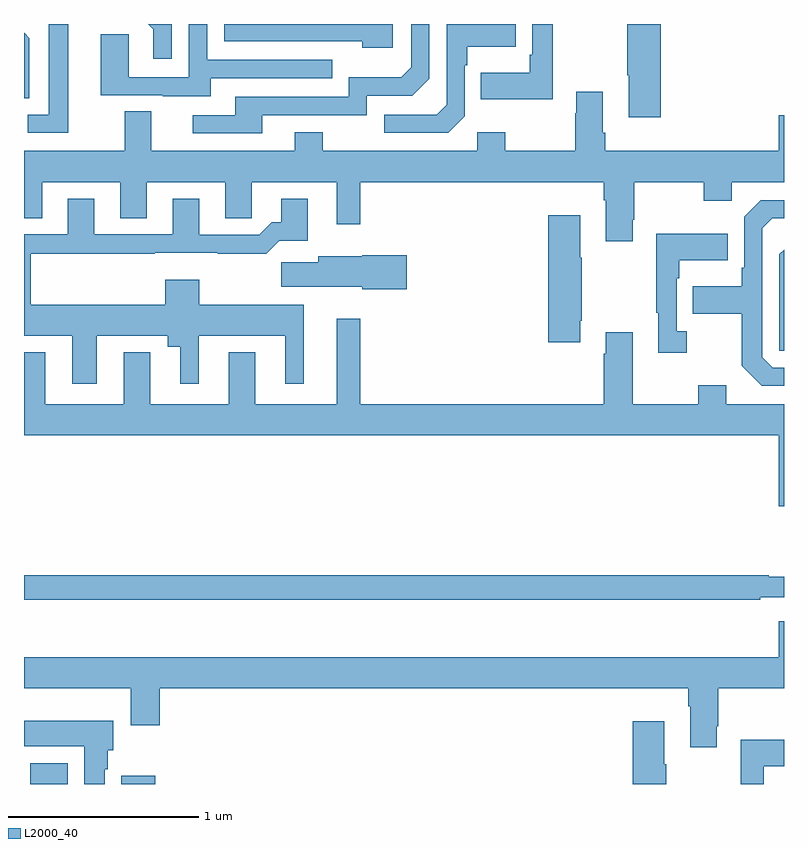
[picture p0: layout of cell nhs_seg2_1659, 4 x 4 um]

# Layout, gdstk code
import gdstk
lib = gdstk.Library(unit=1e-6, precision=1e-09)
def R(c, l, rs):  # rectangles x0, y0, x1, y1
    for r in rs: c.add(gdstk.rectangle(r[:2], r[2:], *l))
def P(c, l, *ps):  # polygons
    for p in ps: c.add(gdstk.Polygon(p, *l))
L2000_40 = (2000, 40)

nhs_seg2_1659 = lib.new_cell('nhs_seg2_1659')
R(nhs_seg2_1659, L2000_40, [(197.033,645.8,197.23,645.91), (197.513,645.8,197.692,645.844)])
P(nhs_seg2_1659, L2000_40, [(200.351,649.8),(200.176,649.8),(200.176,649.531),(200.183,649.531),(200.183,649.308),(200.351,649.308)],
  [(198.94,649.8),(198.054,649.8),(198.054,649.71),(198.779,649.71),(198.779,649.676),(198.94,649.676)],
  [(197.778,649.8),(197.654,649.8),(197.681,649.773),(197.681,649.617),(197.778,649.617)],
  [(197.233,649.8),(197.129,649.8),(197.129,649.323),(197.019,649.323),(197.019,649.227),(197.233,649.227)],
  [(199.32,649.314),(199.32,649.583),(199.333,649.583),(199.333,649.679),(199.589,649.679),(199.589,649.8),(199.224,649.8),(199.224,649.374),(199.173,649.323),(198.897,649.323),(198.897,649.227),(199.233,649.227)],
  [(199.783,649.8),(199.674,649.8),(199.674,649.639),(199.662,649.639),(199.662,649.543),(199.405,649.543),(199.405,649.403),(199.783,649.403)],
  [(198.253,649.32),(198.804,649.32),(198.804,649.422),(199.044,649.422),(199.134,649.512),(199.134,649.8),(199.038,649.8),(199.038,649.572),(198.985,649.519),(198.708,649.519),(198.708,649.416),(198.113,649.416),(198.113,649.32),(197.889,649.32),(197.889,649.224),(198.253,649.224)],
  [(197.983,649.515),(198.623,649.515),(198.623,649.611),(197.964,649.611),(197.964,649.8),(197.868,649.8),(197.868,649.521),(197.55,649.521),(197.55,649.745),(197.405,649.745),(197.405,649.425),(197.729,649.425),(197.729,649.421),(197.983,649.421)],
  [(197.028,649.726),(197,649.754),(197,649.408),(197.028,649.408)],
  [(200.203,648.769),(200.211,648.769),(200.211,648.968),(200.578,648.968),(200.578,648.869),(200.724,648.869),(200.724,648.968),(201,648.968),(201,649.321),(200.972,649.321),(200.972,649.132),(200.06,649.132),(200.06,649.228),(200.047,649.228),(200.047,649.444),(199.907,649.444),(199.907,649.331),(199.9,649.331),(199.9,649.132),(199.533,649.132),(199.533,649.231),(199.386,649.231),(199.386,649.132),(198.573,649.132),(198.573,649.231),(198.425,649.231),(198.425,649.132),(197.671,649.132),(197.671,649.34),(197.531,649.34),(197.531,649.132),(197,649.132),(197,648.778),(197.095,648.778),(197.095,648.968),(197.507,648.968),(197.507,648.778),(197.647,648.778),(197.647,648.968),(198.059,648.968),(198.059,648.778),(198.198,648.778),(198.198,648.968),(198.647,648.968),(198.647,648.747),(198.769,648.747),(198.769,648.968),(200.051,648.968),(200.051,648.872),(200.063,648.872),(200.063,648.657),(200.203,648.657)],
  [(197.383,648.158),(197.756,648.158),(197.756,648.101),(197.822,648.101),(197.822,647.907),(197.92,647.907),(197.92,648.158),(198.374,648.158),(198.374,647.907),(198.472,647.907),(198.472,648.322),(197.922,648.322),(197.922,648.454),(197.744,648.454),(197.744,648.322),(197.035,648.322),(197.035,648.592),(197.687,648.592),(197.687,648.596),(198.019,648.596),(198.019,648.59),(198.275,648.59),(198.344,648.659),(198.493,648.659),(198.493,648.88),(198.353,648.88),(198.353,648.757),(198.304,648.757),(198.237,648.69),(197.923,648.69),(197.923,648.88),(197.783,648.88),(197.783,648.693),(197.371,648.693),(197.371,648.88),(197.231,648.88),(197.231,648.693),(197,648.693),(197,648.158),(197.255,648.158),(197.255,647.907),(197.383,647.907)],
  [(201,647.991),(200.94,647.991),(200.886,648.045),(200.886,648.726),(200.937,648.777),(201,648.777),(201,648.873),(200.877,648.873),(200.79,648.786),(200.79,648.517),(200.778,648.517),(200.778,648.421),(200.521,648.421),(200.521,648.274),(200.778,648.274),(200.778,648.001),(200.883,647.895),(201,647.895)],
  [(199.927,648.238),(199.935,648.238),(199.935,648.569),(199.927,648.569),(199.927,648.793),(199.76,648.793),(199.76,648.126),(199.927,648.126)],
  [(200.488,648.182),(200.436,648.182),(200.436,648.461),(200.449,648.461),(200.449,648.557),(200.705,648.557),(200.705,648.697),(200.328,648.697),(200.328,648.281),(200.339,648.281),(200.339,648.069),(200.488,648.069)],
  [(201,648.612),(200.976,648.588),(200.976,648.081),(201,648.081)],
  [(199.015,648.582),(198.78,648.582),(198.78,648.577),(198.548,648.577),(198.548,648.545),(198.354,648.545),(198.354,648.416),(198.78,648.416),(198.78,648.404),(199.015,648.404)],
  [(201,647.8),(200.695,647.8),(200.695,647.899),(200.548,647.899),(200.548,647.8),(200.203,647.8),(200.203,648.178),(200.063,648.178),(200.063,648.065),(200.051,648.065),(200.051,647.8),(198.769,647.8),(198.769,648.25),(198.647,648.25),(198.647,647.8),(198.217,647.8),(198.217,648.073),(198.077,648.073),(198.077,647.8),(197.665,647.8),(197.665,648.073),(197.525,648.073),(197.525,647.8),(197.113,647.8),(197.113,648.073),(197,648.073),(197,647.636),(200.972,647.636),(200.972,647.262),(201,647.262)],
  [(200.876,646.782),(201,646.782),(201,646.891),(200.92,646.891),(200.92,646.898),(197,646.898),(197,646.77),(200.876,646.77)],
  [(200.647,646.105),(200.655,646.105),(200.655,646.304),(201,646.304),(201,646.657),(200.972,646.657),(200.972,646.468),(197,646.468),(197,646.304),(197.561,646.304),(197.561,646.11),(197.714,646.11),(197.714,646.304),(200.495,646.304),(200.495,646.208),(200.507,646.208),(200.507,645.993),(200.647,645.993)],
  [(197.425,645.878),(197.44,645.878),(197.44,645.978),(197.47,645.978),(197.47,646.132),(197.001,646.132),(197.001,645.998),(197.318,645.998),(197.318,645.8),(197.425,645.8)],
  [(200.379,645.905),(200.371,645.905),(200.371,646.129),(200.204,646.129),(200.204,645.8),(200.379,645.8)],
  [(200.893,645.893),(201,645.893),(201,646.033),(200.772,646.033),(200.772,645.8),(200.893,645.8)])

lib.write_gds('nhs_seg2_1659.gds')
